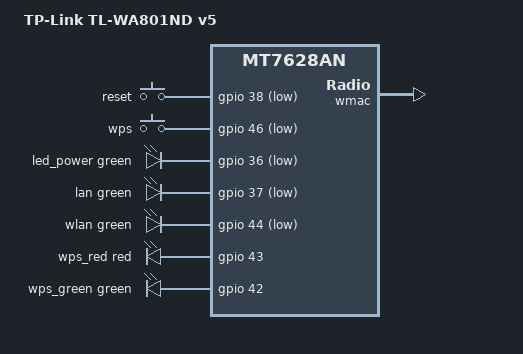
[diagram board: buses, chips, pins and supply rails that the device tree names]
#include <dt-bindings/leds/common.h>

#include "mt7628an_tplink_8m.dtsi"

/ {
	compatible = "tplink,tl-wa801nd-v5", "mediatek,mt7628an-soc";
	model = "TP-Link TL-WA801ND v5";

	aliases {
		led-boot = &led_power;
		led-failsafe = &led_power;
		led-running = &led_power;
		led-upgrade = &led_power;
	};

	keys {
		compatible = "gpio-keys";

		reset {
			label = "reset";
			gpios = <&gpio 38 GPIO_ACTIVE_LOW>;
			linux,code = <KEY_RESTART>;
		};

		wps {
			label = "wps";
			gpios = <&gpio 46 GPIO_ACTIVE_LOW>;
			linux,code = <KEY_WPS_BUTTON>;
		};
	};

	leds {
		compatible = "gpio-leds";

		led_power: power {
			function = LED_FUNCTION_POWER;
			color = <LED_COLOR_ID_GREEN>;
			gpios = <&gpio 36 GPIO_ACTIVE_LOW>;
		};

		lan {
			function = LED_FUNCTION_LAN;
			color = <LED_COLOR_ID_GREEN>;
			gpios = <&gpio 37 GPIO_ACTIVE_LOW>;
		};

		wlan {
			function = LED_FUNCTION_WLAN;
			color = <LED_COLOR_ID_GREEN>;
			gpios = <&gpio 44 GPIO_ACTIVE_LOW>;
			linux,default-trigger = "phy0tpt";
		};

		wps_red {
			function = LED_FUNCTION_WPS;
			color = <LED_COLOR_ID_RED>;
			gpios = <&gpio 43 GPIO_ACTIVE_HIGH>;
		};

		wps_green {
			function = LED_FUNCTION_WPS;
			color = <LED_COLOR_ID_GREEN>;
			gpios = <&gpio 42 GPIO_ACTIVE_HIGH>;
		};
	};
};

&ehci {
	status = "disabled";
};

&ohci {
	status = "disabled";
};

&state_default {
	gpio {
		groups = "p0led_an", "p1led_an", "perst", "refclk",
				"uart1", "wdt", "wled_an";
		function = "gpio";
	};
};

&wmac {
	status = "okay";

	nvmem-cells = <&eeprom_factory_20000>, <&macaddr_factory_f100 0>;
	nvmem-cell-names = "eeprom", "mac-address";
};

&ethernet {
	nvmem-cells = <&macaddr_factory_f100 0>;
	nvmem-cell-names = "mac-address";
};
